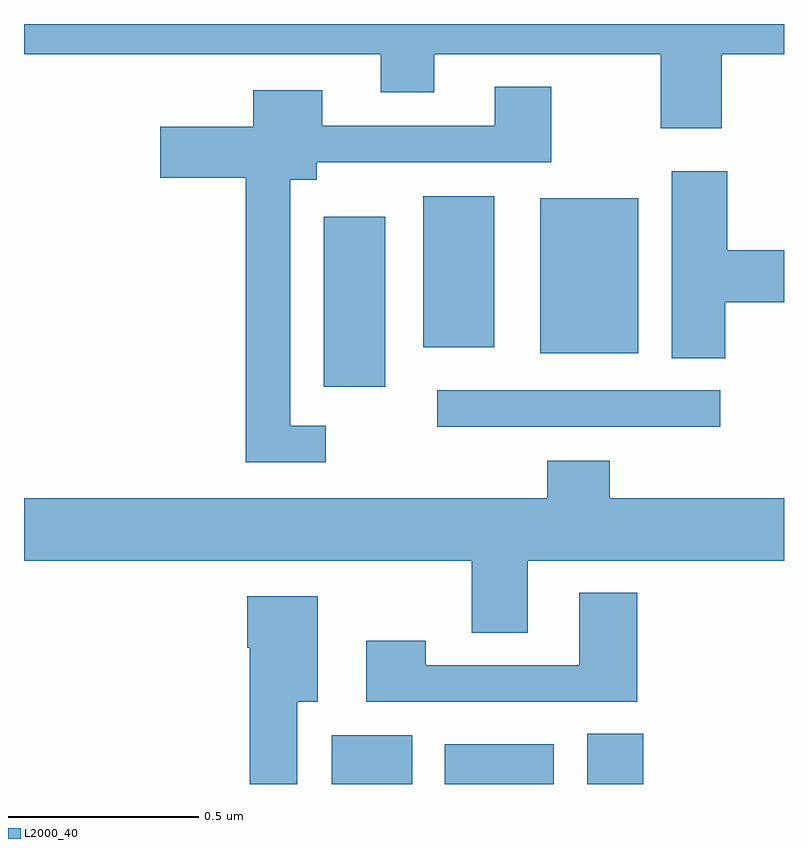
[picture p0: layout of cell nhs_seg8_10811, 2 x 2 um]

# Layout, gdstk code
import gdstk
lib = gdstk.Library(unit=1e-6, precision=1e-09)
def R(c, l, rs):  # rectangles x0, y0, x1, y1
    for r in rs: c.add(gdstk.rectangle(r[:2], r[2:], *l))
def P(c, l, *ps):  # polygons
    for p in ps: c.add(gdstk.Polygon(p, *l))
L2000_40 = (2000, 40)

nhs_seg8_10811 = lib.new_cell('nhs_seg8_10811')
R(nhs_seg8_10811, L2000_40, [(254.81,1127.9,255.022,1128.028), (255.107,1127.9,255.394,1128.004), (255.482,1127.9,255.629,1128.032), (255.087,1128.84,255.832,1128.936), (254.789,1128.945,254.95,1129.393), (255.359,1129.034,255.616,1129.441), (255.05,1129.049,255.238,1129.447)])
P(nhs_seg8_10811, L2000_40, [(254,1129.82),(254.939,1129.82),(254.939,1129.721),(255.079,1129.721),(255.079,1129.82),(255.676,1129.82),(255.676,1129.626),(255.836,1129.626),(255.836,1129.82),(256,1129.82),(256,1129.9),(254,1129.9)],
  [(254.794,1128.843),(254.7,1128.843),(254.7,1129.49),(254.77,1129.49),(254.77,1129.536),(255.387,1129.536),(255.387,1129.735),(255.239,1129.735),(255.239,1129.632),(254.785,1129.632),(254.785,1129.726),(254.603,1129.726),(254.603,1129.63),(254.358,1129.63),(254.358,1129.496),(254.584,1129.496),(254.584,1128.747),(254.794,1128.747)],
  [(255.846,1129.168),(256,1129.168),(256,1129.304),(255.851,1129.304),(255.851,1129.513),(255.704,1129.513),(255.704,1129.021),(255.846,1129.021)],
  [(255.325,1128.488),(256,1128.488),(256,1128.652),(255.542,1128.652),(255.542,1128.751),(255.377,1128.751),(255.377,1128.652),(254,1128.652),(254,1128.488),(255.178,1128.488),(255.178,1128.298),(255.325,1128.298)],
  [(255.614,1128.403),(255.461,1128.403),(255.461,1128.213),(255.057,1128.213),(255.057,1128.277),(254.901,1128.277),(254.901,1128.117),(255.614,1128.117)],
  [(254.719,1128.116),(254.773,1128.116),(254.773,1128.394),(254.588,1128.394),(254.588,1128.258),(254.594,1128.258),(254.594,1127.9),(254.719,1127.9)])

lib.write_gds('nhs_seg8_10811.gds')
